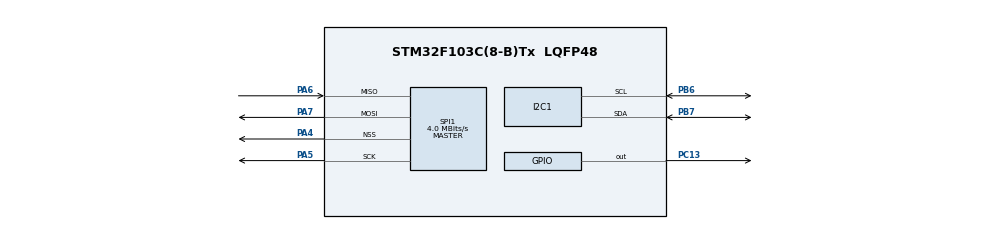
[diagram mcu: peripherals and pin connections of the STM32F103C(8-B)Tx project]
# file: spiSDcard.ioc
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FATFS._MAX_SS=4096
FATFS._USE_LFN=1
Mcu.Family=STM32F1
Mcu.Name=STM32F103C(8-B)Tx
Mcu.Package=LQFP48
NVIC.PriorityGroup=NVIC_PRIORITYGROUP_4
PA4.Mode=NSS_Signal_Hard_Output
PA4.Signal=SPI1_NSS
PA5.Mode=Full_Duplex_Master
PA5.Signal=SPI1_SCK
PA6.Mode=Full_Duplex_Master
PA6.Signal=SPI1_MISO
PA7.Mode=Full_Duplex_Master
PA7.Signal=SPI1_MOSI
PB6.Mode=I2C
PB6.Signal=I2C1_SCL
PB7.Mode=I2C
PB7.Signal=I2C1_SDA
PC13-TAMPER-RTC.Signal=GPIO_Output
ProjectManager.HeapSize=0x200
ProjectManager.StackSize=0x400
ProjectManager.TargetToolchain=STM32CubeIDE
RCC.APB1Freq_Value=8000000
RCC.APB2Freq_Value=8000000
SPI1.CalculateBaudRate=4.0 MBits/s
SPI1.Direction=SPI_DIRECTION_2LINES
SPI1.Mode=SPI_MODE_MASTER
SPI1.VirtualNSS=VM_NSSHARD
SPI1.VirtualType=VM_MASTER
VP_FATFS_VS_Generic.Mode=User_defined
VP_SYS_VS_ND.Mode=No_Debug
board=custom

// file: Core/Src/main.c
/* USER CODE BEGIN Header */
/**
  ******************************************************************************
  * @file           : main.c
  * @brief          : Main program body
  ******************************************************************************
  * @attention
  *
  * Copyright (c) 2023 STMicroelectronics.
  * All rights reserved.
  *
  * This software is licensed under terms that can be found in the LICENSE file
  * in the root directory of this software component.
  * If no LICENSE file comes with this software, it is provided AS-IS.
  *
  ******************************************************************************
  */
/* USER CODE END Header */
#include "main.h"

/* USER CODE BEGIN Includes */
#include "ssd1306_fonts.h"
#include "ssd1306_tests.h"
#include "ssd1306.h"
#include <stdlib.h>
#include <stdio.h>
/* USER CODE END Includes */

I2C_HandleTypeDef hi2c1;

SPI_HandleTypeDef hspi1;

void SystemClock_Config(void);
static void MX_GPIO_Init(void);
static void MX_SPI1_Init(void);
static void MX_I2C1_Init(void);

int main(void)
{

  /* MCU Configuration--------------------------------------------------------*/

  /* Reset of all peripherals, Initializes the Flash interface and the Systick. */
  HAL_Init();

  /* Configure the system clock */
  SystemClock_Config();

  /* Initialize all configured peripherals */
  MX_GPIO_Init();
  MX_SPI1_Init();
  MX_I2C1_Init();
  /* USER CODE BEGIN 2 */
  char welcoming[] = "Welcome";
  ssd1306_Init();
  ssd1306_Fill(0x01);
  ssd1306_SetCursor(25, 20);
  ssd1306_WriteString(welcoming, Font_11x18, 0x00);
  ssd1306_UpdateScreen();
  HAL_Delay(1500);
  ssd1306_Fill(0x00);
  ssd1306_UpdateScreen();

  HAL_GPIO_WritePin(GPIOA, GPIO_PIN_4, 0);
  int i;
  uint8_t buffer = 0xFF;
  for(i = 0; i < 15; i++){
	  HAL_SPI_Transmit(&hspi1, &buffer, 1, 100);
  }

  /* USER CODE END 2 */

  /* Infinite loop */
  while (1)
  {

  }
}

void SystemClock_Config(void)
{
  RCC_OscInitTypeDef RCC_OscInitStruct = {0};
  RCC_ClkInitTypeDef RCC_ClkInitStruct = {0};

  /** Initializes the RCC Oscillators according to the specified parameters
  * in the RCC_OscInitTypeDef structure.
  */
  RCC_OscInitStruct.OscillatorType = RCC_OSCILLATORTYPE_HSI;
  RCC_OscInitStruct.HSIState = RCC_HSI_ON;
  RCC_OscInitStruct.HSICalibrationValue = RCC_HSICALIBRATION_DEFAULT;
  RCC_OscInitStruct.PLL.PLLState = RCC_PLL_NONE;
  if (HAL_RCC_OscConfig(&RCC_OscInitStruct) != HAL_OK)
  {
    Error_Handler();
  }

  /** Initializes the CPU, AHB and APB buses clocks
  */
  RCC_ClkInitStruct.ClockType = RCC_CLOCKTYPE_HCLK|RCC_CLOCKTYPE_SYSCLK
                              |RCC_CLOCKTYPE_PCLK1|RCC_CLOCKTYPE_PCLK2;
  RCC_ClkInitStruct.SYSCLKSource = RCC_SYSCLKSOURCE_HSI;
  RCC_ClkInitStruct.AHBCLKDivider = RCC_SYSCLK_DIV1;
  RCC_ClkInitStruct.APB1CLKDivider = RCC_HCLK_DIV1;
  RCC_ClkInitStruct.APB2CLKDivider = RCC_HCLK_DIV1;

  if (HAL_RCC_ClockConfig(&RCC_ClkInitStruct, FLASH_LATENCY_0) != HAL_OK)
  {
    Error_Handler();
  }
}

static void MX_I2C1_Init(void)
{

  hi2c1.Instance = I2C1;
  hi2c1.Init.ClockSpeed = 100000;
  hi2c1.Init.DutyCycle = I2C_DUTYCYCLE_2;
  hi2c1.Init.OwnAddress1 = 0;
  hi2c1.Init.AddressingMode = I2C_ADDRESSINGMODE_7BIT;
  hi2c1.Init.DualAddressMode = I2C_DUALADDRESS_DISABLE;
  hi2c1.Init.OwnAddress2 = 0;
  hi2c1.Init.GeneralCallMode = I2C_GENERALCALL_DISABLE;
  hi2c1.Init.NoStretchMode = I2C_NOSTRETCH_DISABLE;
  if (HAL_I2C_Init(&hi2c1) != HAL_OK)
  {
    Error_Handler();
  }

}

static void MX_SPI1_Init(void)
{

  /* SPI1 parameter configuration*/
  hspi1.Instance = SPI1;
  hspi1.Init.Mode = SPI_MODE_MASTER;
  hspi1.Init.Direction = SPI_DIRECTION_2LINES;
  hspi1.Init.DataSize = SPI_DATASIZE_8BIT;
  hspi1.Init.CLKPolarity = SPI_POLARITY_LOW;
  hspi1.Init.CLKPhase = SPI_PHASE_1EDGE;
  hspi1.Init.NSS = SPI_NSS_HARD_OUTPUT;
  hspi1.Init.BaudRatePrescaler = SPI_BAUDRATEPRESCALER_2;
  hspi1.Init.FirstBit = SPI_FIRSTBIT_MSB;
  hspi1.Init.TIMode = SPI_TIMODE_DISABLE;
  hspi1.Init.CRCCalculation = SPI_CRCCALCULATION_DISABLE;
  hspi1.Init.CRCPolynomial = 10;
  if (HAL_SPI_Init(&hspi1) != HAL_OK)
  {
    Error_Handler();
  }

}

static void MX_GPIO_Init(void)
{
  GPIO_InitTypeDef GPIO_InitStruct = {0};

  /* GPIO Ports Clock Enable */
  __HAL_RCC_GPIOC_CLK_ENABLE();
  __HAL_RCC_GPIOA_CLK_ENABLE();
  __HAL_RCC_GPIOB_CLK_ENABLE();

  /*Configure GPIO pin Output Level */
  HAL_GPIO_WritePin(GPIOC, GPIO_PIN_13, GPIO_PIN_RESET);

  /*Configure GPIO pin : PC13 */
  GPIO_InitStruct.Pin = GPIO_PIN_13;
  GPIO_InitStruct.Mode = GPIO_MODE_OUTPUT_PP;
  GPIO_InitStruct.Pull = GPIO_NOPULL;
  GPIO_InitStruct.Speed = GPIO_SPEED_FREQ_LOW;
  HAL_GPIO_Init(GPIOC, &GPIO_InitStruct);

}

void Error_Handler(void)
{
  __disable_irq();
  while (1)
  {
  }
}
